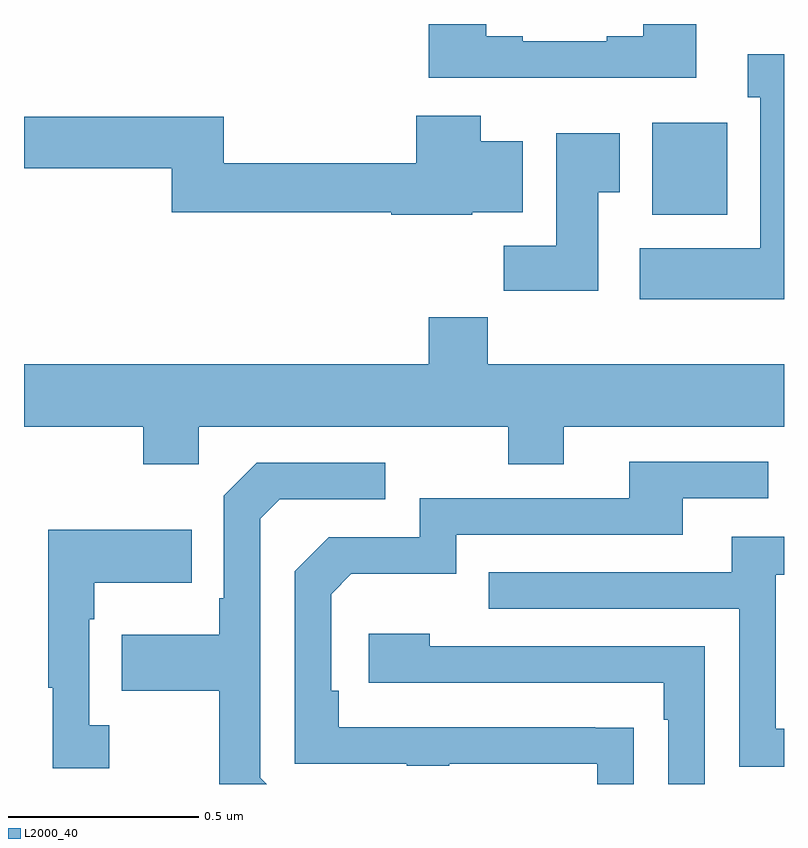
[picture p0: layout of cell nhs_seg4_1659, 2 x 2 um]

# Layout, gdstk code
import gdstk
lib = gdstk.Library(unit=1e-6, precision=1e-09)
def R(c, l, rs):  # rectangles x0, y0, x1, y1
    for r in rs: c.add(gdstk.rectangle(r[:2], r[2:], *l))
def P(c, l, *ps):  # polygons
    for p in ps: c.add(gdstk.Polygon(p, *l))
L2000_40 = (2000, 40)

nhs_seg4_1659 = lib.new_cell('nhs_seg4_1659')
R(nhs_seg4_1659, L2000_40, [(132.653,777.398,132.85,777.64)])
P(nhs_seg4_1659, L2000_40, [(132.769,777.9),(132.629,777.9),(132.629,777.868),(132.533,777.868),(132.533,777.855),(132.313,777.855),(132.313,777.868),(132.217,777.868),(132.217,777.9),(132.065,777.9),(132.065,777.758),(132.769,777.758)],
  [(133,777.82),(132.905,777.82),(132.905,777.707),(132.938,777.707),(132.938,777.31),(132.621,777.31),(132.621,777.176),(133,777.176)],
  [(132.18,777.404),(132.313,777.404),(132.313,777.592),(132.202,777.592),(132.202,777.658),(132.032,777.658),(132.032,777.533),(131.525,777.533),(131.525,777.656),(131,777.656),(131,777.52),(131.389,777.52),(131.389,777.405),(131.966,777.405),(131.966,777.398),(132.18,777.398)],
  [(132.511,777.457),(132.568,777.457),(132.568,777.613),(132.401,777.613),(132.401,777.316),(132.262,777.316),(132.262,777.198),(132.511,777.198)],
  [(131.46,776.84),(132.274,776.84),(132.274,776.741),(132.421,776.741),(132.421,776.84),(133,776.84),(133,777.004),(132.221,777.004),(132.221,777.128),(132.065,777.128),(132.065,777.004),(131,777.004),(131,776.84),(131.314,776.84),(131.314,776.741),(131.46,776.741)],
  [(132.605,776.048),(132.503,776.048),(132.503,776.049),(131.828,776.049),(131.828,776.146),(131.808,776.146),(131.808,776.4),(131.861,776.453),(132.138,776.453),(132.138,776.556),(132.733,776.556),(132.733,776.652),(132.958,776.652),(132.958,776.748),(132.593,776.748),(132.593,776.652),(132.042,776.652),(132.042,776.55),(131.802,776.55),(131.712,776.46),(131.712,775.953),(132.007,775.953),(132.007,775.948),(132.119,775.948),(132.119,775.953),(132.509,775.953),(132.509,775.9),(132.605,775.9)],
  [(131.622,775.917),(131.622,776.598),(131.673,776.649),(131.95,776.649),(131.95,776.745),(131.613,776.745),(131.526,776.658),(131.526,776.389),(131.514,776.389),(131.514,776.293),(131.257,776.293),(131.257,776.146),(131.514,776.146),(131.514,775.9),(131.639,775.9)],
  [(131.224,776.054),(131.172,776.054),(131.172,776.333),(131.185,776.333),(131.185,776.429),(131.441,776.429),(131.441,776.569),(131.064,776.569),(131.064,776.153),(131.075,776.153),(131.075,775.941),(131.224,775.941)],
  [(133,776.046),(132.978,776.046),(132.978,776.451),(133,776.451),(133,776.551),(132.863,776.551),(132.863,776.457),(132.223,776.457),(132.223,776.361),(132.882,776.361),(132.882,775.945),(133,775.945)],
  [(132.792,776.262),(132.068,776.262),(132.068,776.296),(131.907,776.296),(131.907,776.166),(132.683,776.166),(132.683,776.069),(132.696,776.069),(132.696,775.9),(132.792,775.9)])

lib.write_gds('nhs_seg4_1659.gds')
